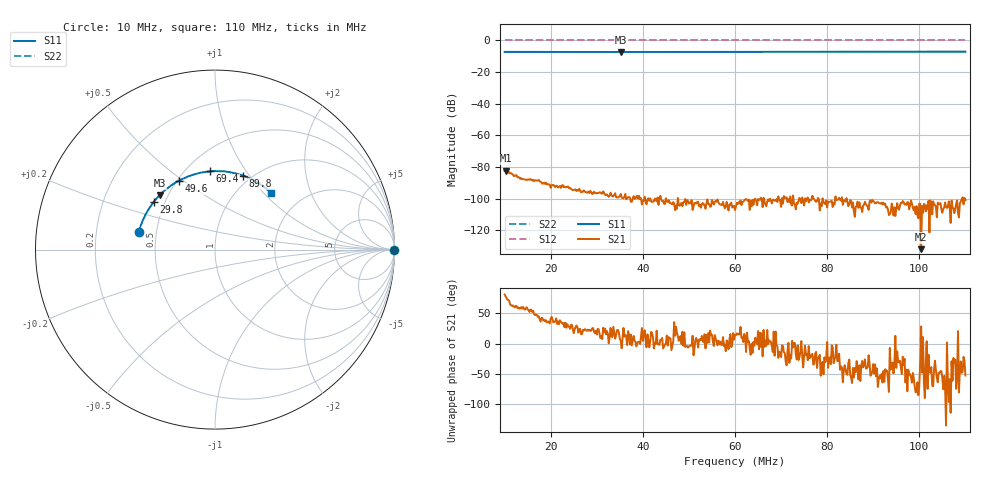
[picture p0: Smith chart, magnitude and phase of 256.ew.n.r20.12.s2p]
! Anritsu VNA Master:  Model: MS2036C/10/77
! SN:  1601066
! /card0/usr/256.ew.n.r20.12.s2p
! Existing Calibration Information:
! TYPE:  Current Settings,  Active Cal Settings
! TIME:  12/19/2017 03:00:19 PM,  12/19/2017 02:53:44 PM
! INTERNAL TEMP:  46.5 C,  46.3 C
! # POINTS:  501,  501
! START FREQ:  10.000 MHz,  10.000 MHz
! STOP FREQ:  110.000 MHz,  110.000 MHz
! SOURCE POWER:  High,  High
! IFBW:  100 Hz,  100 Hz
! AVG FACTOR:  1 ,  1
! REF PLANE 1:  0 mm,  0 mm
! REF PLANE 2:  0 mm,  0 mm
! CAL TYPE:  Full S11,  Full S11
! CAL METHOD:  SOLT,  SOLT
! CAL LINE TYPE:  Coax,  Coax
! DUT PORT 1:  N-Conn(F),  N-Conn(F)
! DUT PORT 2:  K-Conn(F),  K-Conn(F)
! CAL STATUS:  OK: Accuracy High,  --
# GHZ S DB R 50.0
! FREQ.GHZ  S11DB  S11A  S21DB  S21A  S12DB  S12A  S22DB  S22A
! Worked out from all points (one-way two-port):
!   501 points, 10 MHz to 110 MHz, reference 50 ohm
!   highest |S21| = -82.38 dB at 10.2 MHz (marker M1); lowest = -132.1 dB at 100.4 MHz (marker M2)
!   lowest |S11| = -7.3 dB at 35.2 MHz (marker M3), VSWR 2.52, Z = 22.6 + j16.8 ohm
!   |S11| at or under -10 dB: nowhere
!   |S22| runs from 0.0 to 0.0 dB; largest |S21 - S12| = 1
!   S11 on the Smith chart (normalised r, x): 10 MHz: 0.40, +0.10; 29.8 MHz: 0.43, +0.28; 49.6 MHz: 0.51, +0.48; 69.4 MHz: 0.65, +0.70; 89.8 MHz: 0.92, +0.94; 110 MHz: 1.40, +1.10
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0.01  -7.22 167.1  -82.38 81.0  0.00 0.0  0.00 0.0
0.0102  -7.21 166.9  -82.38 78.1  0.00 0.0  0.00 0.0
0.0142  -7.24 161.8  -87.68 57.8  0.00 0.0  0.00 0.0
0.0184  -7.26 156.4  -90.32 38.0  0.00 0.0  0.00 0.0
0.0268  -7.29 145.9  -95.50 15.7  0.00 0.0  0.00 0.0
0.0298  -7.27 142.3  -96.32 21.4  0.00 0.0  0.00 0.0
0.0352  -7.29 135.4  -97.01 4.7  0.00 0.0  0.00 0.0
0.0374  -7.26 132.8  -101.95 14.9  0.00 0.0  0.00 0.0
0.0434  -7.27 125.2  -103.87 -0.5  0.00 0.0  0.00 0.0
0.0476  -7.25 120.0  -99.50 11.8  0.00 0.0  0.00 0.0
0.0496  -7.28 117.7  -100.81 -4.0  0.00 0.0  0.00 0.0
0.055  -7.24 110.9  -100.75 14.6  0.00 0.0  0.00 0.0
0.06  -7.25 105.0  -107.18 14.3  0.00 0.0  0.00 0.0
0.0652  -7.21 98.5  -100.59 -9.2  0.00 0.0  0.00 0.0
0.0694  -7.19 93.4  -98.52 -23.6  0.00 0.0  0.00 0.0
0.0768  -7.17 84.5  -98.15 -16.9  0.00 0.0  0.00 0.0
0.0846  -7.13 75.3  -104.67 -31.6  0.00 0.0  0.00 0.0
0.0898  -7.12 69.1  -100.77 -46.5  0.00 0.0  0.00 0.0
0.0934  -7.10 65.0  -110.32 -79.7  0.00 0.0  0.00 0.0
0.1004  -7.07 56.7  -132.07 28.4  0.00 0.0  0.00 0.0
0.1062  -7.06 49.8  -105.24 -62.4  0.00 0.0  0.00 0.0
0.11  -7.06 45.4  -100.95 -52.7  0.00 0.0  0.00 0.0
